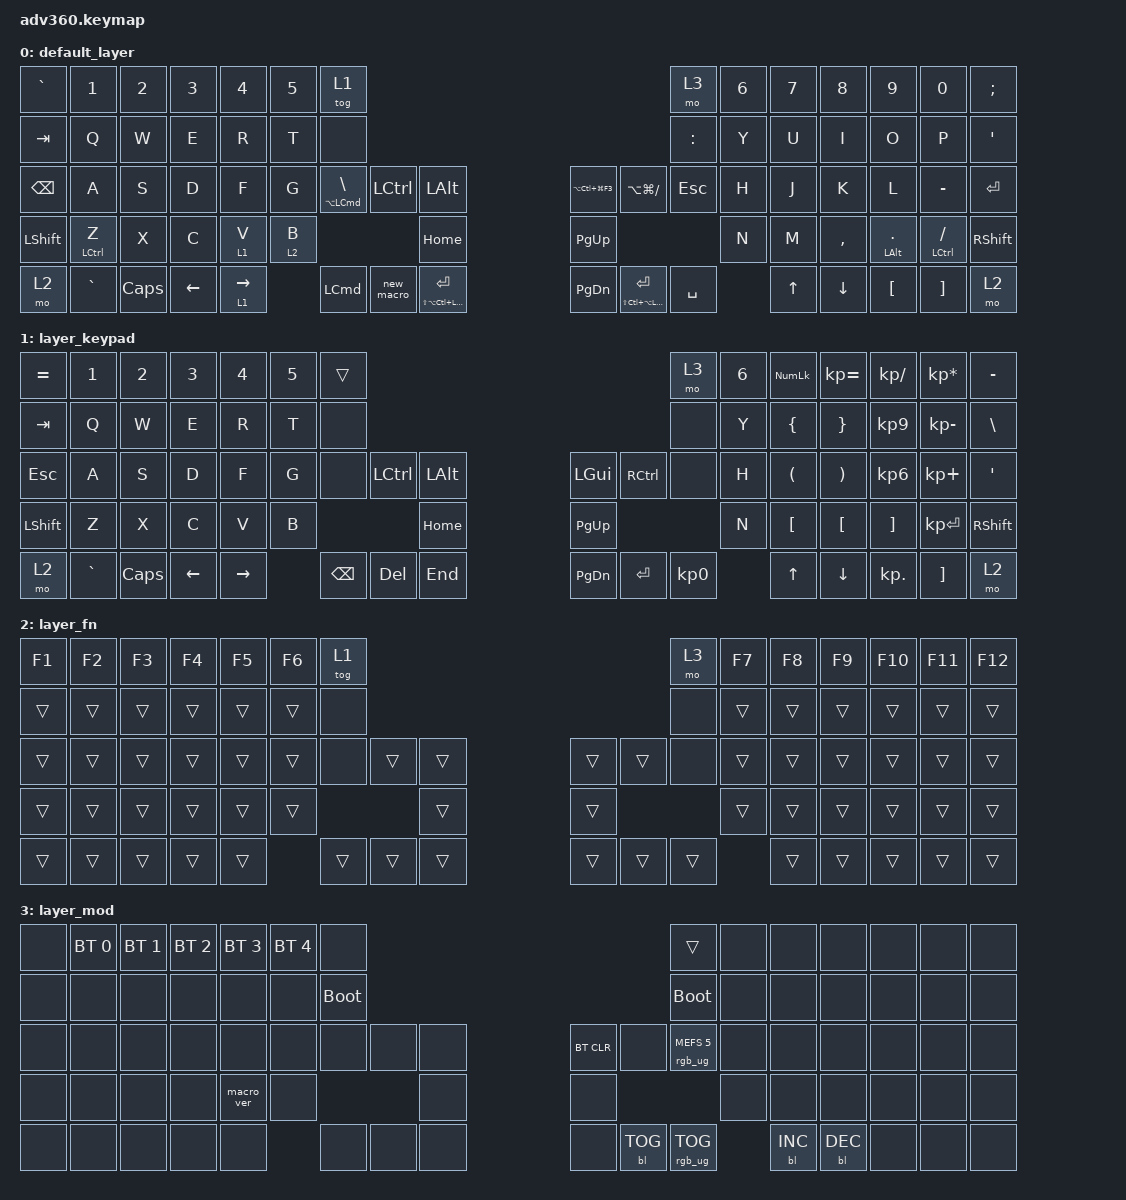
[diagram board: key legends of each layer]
/*
 * Copyright (c) 2020 The ZMK Contributors
 *
 * SPDX-License-Identifier: MIT
 */
/* THIS FILE WAS GENERATED!
 *
 * This file was generated automatically. You may or may not want to
 * edit it directly.
 */

#include <behaviors.dtsi>
#include <dt-bindings/zmk/backlight.h>
#include <dt-bindings/zmk/bt.h>
#include <dt-bindings/zmk/keys.h>
#include <dt-bindings/zmk/rgb.h>

/ {
    behaviors {
        #include "macros.dtsi"
    #include "version.dtsi"

        hm: homerow_mods {
            compatible = "zmk,behavior-hold-tap";
            label = "HOMEROW_MODS";
            #binding-cells = <2>;
            tapping-term-ms = <200>;
            quick_tap_ms = <175>;
            flavor = "tap-preferred";
            bindings = <&kp>, <&kp>;
        };
    };

    macros {
        new_macro: new_macro {
            compatible = "zmk,behavior-macro";
            #binding-cells = <0>;
            bindings = <&none &kp LC(SPACE)>;
            label = "NEW_MACRO";
        };

        mash: mash {
            compatible = "zmk,behavior-macro";
            #binding-cells = <0>;
            bindings =
                <&none &kp LC(LA(LEFT_COMMAND))>,
                <&macro_press>,
                <&macro_press>;

            label = "MASH";
        };

        talktastic: talktastic {
            compatible = "zmk,behavior-macro";
            #binding-cells = <0>;
            bindings = <&none &kp LA(LEFT_COMMAND) &kp SLASH>;
            label = "TALKTASTIC";
        };
    };

    combos {
        compatible = "zmk,combos";

        escape_pinkies {
            bindings = <&kp ESCAPE>;
            key-positions = <44 29>;
        };

        colon {
            bindings = <&kp COLON>;
            key-positions = <41 42>;
        };

        equals {
            bindings = <&kp EQUAL>;
            key-positions = <31 32>;
        };

        escape {
            bindings = <&kp ESCAPE>;
            key-positions = <42 43>;
        };

        escape_pointers {
            bindings = <&kp ESCAPE>;
            key-positions = <32 41>;
        };
    };

    keymap {
        compatible = "zmk,keymap";

        default_layer {
            bindings = <
&kp GRAVE      &kp N1              &kp N2    &kp N3    &kp N4       &kp N5   &tog 1                                                                                                                                      &mo 3      &kp N6  &kp N7  &kp N8     &kp N9               &kp N0                  &kp SEMI
&kp TAB        &kp Q               &kp W     &kp E     &kp R        &kp T    &none                                                                                                                                       &kp COLON  &kp Y   &kp U   &kp I      &kp O                &kp P                   &kp SINGLE_QUOTE
&kp BACKSPACE  &kp A               &kp S     &kp D     &kp F        &kp G    &mt LA(LEFT_COMMAND) BACKSLASH  &kp LCTRL   &kp LALT                                &kp LA(LC(LG(F3)))  &kp LA(LG(SLASH))                   &kp ESC    &kp H   &kp J   &kp K      &kp L                &kp MINUS               &kp RETURN
&kp LSHFT      &mt LEFT_CONTROL Z  &kp X     &kp C     &lt 1 V      &lt 2 B                                              &kp HOME                                &kp PG_UP                                                          &kp N   &kp M   &kp COMMA  &mt LEFT_ALT PERIOD  &mt LEFT_CONTROL SLASH  &kp RSHFT
&mo 2          &kp GRAVE           &kp CAPS  &kp LEFT  &lt 1 RIGHT           &kp LEFT_COMMAND                &new_macro  &mt LS(LA(LC(LEFT_COMMAND))) ENTER      &kp PG_DN           &mt LS(LC(LA(LEFT_COMMAND))) ENTER  &kp SPACE          &kp UP  &kp DOWN   &kp LBKT             &kp RBKT                &mo 2
            >;
        };

        layer_keypad {
            bindings = <
&kp EQUAL  &kp N1     &kp N2    &kp N3    &kp N4     &kp N5  &trans                                                   &mo 3      &kp N6  &kp KP_NUM            &kp KP_EQUAL           &kp KP_DIVIDE      &kp KP_MULTIPLY  &kp MINUS
&kp TAB    &kp Q      &kp W     &kp E     &kp R      &kp T   &none                                                    &none      &kp Y   &kp LEFT_BRACE        &kp RIGHT_BRACE        &kp KP_N9          &kp KP_MINUS     &kp BSLH
&kp ESC    &kp A      &kp S     &kp D     &kp F      &kp G   &none     &kp LCTRL  &kp LALT      &kp LGUI   &kp RCTRL  &none      &kp H   &kp LEFT_PARENTHESIS  &kp RIGHT_PARENTHESIS  &kp KP_N6          &kp KP_PLUS      &kp SQT
&kp LSHFT  &kp Z      &kp X     &kp C     &kp V      &kp B                        &kp HOME      &kp PG_UP                        &kp N   &kp LEFT_BRACKET      &kp LEFT_BRACKET       &kp RIGHT_BRACKET  &kp KP_ENTER     &kp RSHFT
&mo 2      &kp GRAVE  &kp CAPS  &kp LEFT  &kp RIGHT          &kp BSPC  &kp DEL    &kp END       &kp PG_DN  &kp ENTER  &kp KP_N0          &kp UP                &kp DOWN               &kp KP_DOT         &kp RBKT         &mo 2
            >;
        };

        layer_fn {
            bindings = <
&kp F1  &kp F2  &kp F3  &kp F4  &kp F5  &kp F6  &tog 1                                      &mo 3   &kp F7  &kp F8  &kp F9  &kp F10  &kp F11  &kp F12
&trans  &trans  &trans  &trans  &trans  &trans  &none                                       &none   &trans  &trans  &trans  &trans   &trans   &trans
&trans  &trans  &trans  &trans  &trans  &trans  &none   &trans  &trans      &trans  &trans  &none   &trans  &trans  &trans  &trans   &trans   &trans
&trans  &trans  &trans  &trans  &trans  &trans                  &trans      &trans                  &trans  &trans  &trans  &trans   &trans   &trans
&trans  &trans  &trans  &trans  &trans          &trans  &trans  &trans      &trans  &trans  &trans          &trans  &trans  &trans   &trans   &trans
            >;
        };

        layer_mod {
            bindings = <
&none  &bt BT_SEL 0  &bt BT_SEL 1  &bt BT_SEL 2  &bt BT_SEL 3  &bt BT_SEL 4  &none                                                  &trans                  &none  &none       &none       &none  &none  &none
&none  &none         &none         &none         &none         &none         &bootloader                                            &bootloader             &none  &none       &none       &none  &none  &none
&none  &none         &none         &none         &none         &none         &none        &none  &none      &bt BT_CLR  &none       &rgb_ug RGB_MEFS_CMD 5  &none  &none       &none       &none  &none  &none
&none  &none         &none         &none         &macro_ver    &none                             &none      &none                                           &none  &none       &none       &none  &none  &none
&none  &none         &none         &none         &none                       &none        &none  &none      &none       &bl BL_TOG  &rgb_ug RGB_TOG                &bl BL_INC  &bl BL_DEC  &none  &none  &none
            >;
        };
    };
};
